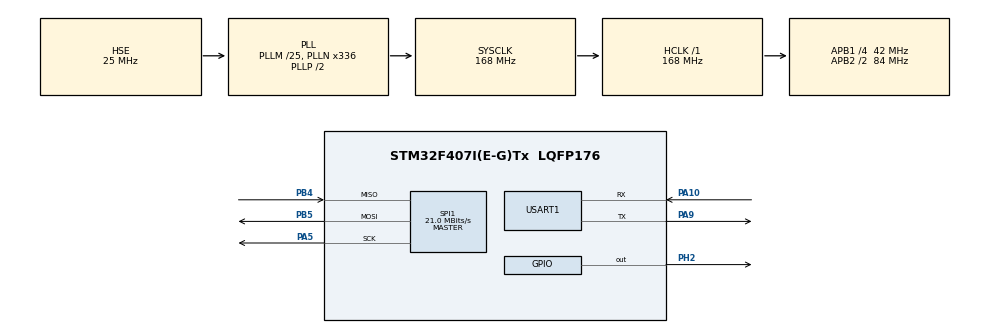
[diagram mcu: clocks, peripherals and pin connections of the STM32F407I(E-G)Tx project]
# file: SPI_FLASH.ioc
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Mcu.Family=STM32F4
Mcu.Name=STM32F407I(E-G)Tx
Mcu.Package=LQFP176
NVIC.PriorityGroup=NVIC_PRIORITYGROUP_4
PA10.Mode=Asynchronous
PA10.Signal=USART1_RX
PA5.Mode=Full_Duplex_Master
PA5.Signal=SPI1_SCK
PA9.Mode=Asynchronous
PA9.Signal=USART1_TX
PB4.Mode=Full_Duplex_Master
PB4.Signal=SPI1_MISO
PB5.Mode=Full_Duplex_Master
PB5.Signal=SPI1_MOSI
PH0-OSC_IN.Mode=HSE-External-Oscillator
PH0-OSC_IN.Signal=RCC_OSC_IN
PH1-OSC_OUT.Mode=HSE-External-Oscillator
PH1-OSC_OUT.Signal=RCC_OSC_OUT
PH2.Signal=GPIO_Output
ProjectManager.HeapSize=0x200
ProjectManager.StackSize=0x400
ProjectManager.TargetToolchain=MDK-ARM V5
RCC.48MHZClocksFreq_Value=84000000
RCC.AHBFreq_Value=168000000
RCC.APB1CLKDivider=RCC_HCLK_DIV4
RCC.APB1Freq_Value=42000000
RCC.APB1TimFreq_Value=84000000
RCC.APB2CLKDivider=RCC_HCLK_DIV2
RCC.APB2Freq_Value=84000000
RCC.APB2TimFreq_Value=168000000
RCC.CortexFreq_Value=168000000
RCC.HCLKFreq_Value=168000000
RCC.HSE_VALUE=25000000
RCC.HSI_VALUE=16000000
RCC.LSE_VALUE=32768
RCC.PLLM=25
RCC.PLLN=336
RCC.PLLSourceVirtual=RCC_PLLSOURCE_HSE
RCC.SYSCLKFreq_VALUE=168000000
RCC.SYSCLKSource=RCC_SYSCLKSOURCE_PLLCLK
RCC.VCOOutputFreq_Value=336000000
SPI1.BaudRatePrescaler=SPI_BAUDRATEPRESCALER_4
SPI1.CalculateBaudRate=21.0 MBits/s
SPI1.Direction=SPI_DIRECTION_2LINES
SPI1.Mode=SPI_MODE_MASTER
SPI1.VirtualType=VM_MASTER
USART1.VirtualMode=VM_ASYNC
board=SPI_FLASH

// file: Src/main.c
/**
  ******************************************************************************
  * @file           : main.c
  * @brief          : Main program body
  ******************************************************************************
  ** This notice applies to any and all portions of this file
  * that are not between comment pairs USER CODE BEGIN and
  * USER CODE END. Other portions of this file, whether
  * inserted by the user or by software development tools
  * are owned by their respective copyright owners.
  *
  * COPYRIGHT(c) 2025 STMicroelectronics
  *
  * Redistribution and use in source and binary forms, with or without modification,
  * are permitted provided that the following conditions are met:
  *   1. Redistributions of source code must retain the above copyright notice,
  *      this list of conditions and the following disclaimer.
  *   2. Redistributions in binary form must reproduce the above copyright notice,
  *      this list of conditions and the following disclaimer in the documentation
  *      and/or other materials provided with the distribution.
  *   3. Neither the name of STMicroelectronics nor the names of its contributors
  *      may be used to endorse or promote products derived from this software
  *      without specific prior written permission.
  *
  * THIS SOFTWARE IS PROVIDED BY THE COPYRIGHT HOLDERS AND CONTRIBUTORS "AS IS"
  * AND ANY EXPRESS OR IMPLIED WARRANTIES, INCLUDING, BUT NOT LIMITED TO, THE
  * IMPLIED WARRANTIES OF MERCHANTABILITY AND FITNESS FOR A PARTICULAR PURPOSE ARE
  * DISCLAIMED. IN NO EVENT SHALL THE COPYRIGHT HOLDER OR CONTRIBUTORS BE LIABLE
  * FOR ANY DIRECT, INDIRECT, INCIDENTAL, SPECIAL, EXEMPLARY, OR CONSEQUENTIAL
  * DAMAGES (INCLUDING, BUT NOT LIMITED TO, PROCUREMENT OF SUBSTITUTE GOODS OR
  * SERVICES; LOSS OF USE, DATA, OR PROFITS; OR BUSINESS INTERRUPTION) HOWEVER
  * CAUSED AND ON ANY THEORY OF LIABILITY, WHETHER IN CONTRACT, STRICT LIABILITY,
  * OR TORT (INCLUDING NEGLIGENCE OR OTHERWISE) ARISING IN ANY WAY OUT OF THE USE
  * OF THIS SOFTWARE, EVEN IF ADVISED OF THE POSSIBILITY OF SUCH DAMAGE.
  *
  ******************************************************************************
  */
#include "main.h"
#include "stm32f4xx_hal.h"
#include "spi.h"
#include "usart.h"
#include "gpio.h"

/* USER CODE BEGIN Includes */
#include "w25x16.h"
/* USER CODE END Includes */

/* USER CODE BEGIN PV */
/* Private variables ---------------------------------------------------------*/
//大于一个扇区4096byte
//读缓冲区
uint8_t RD_Buffer[5000] = {0};
//写缓冲区
uint8_t WR_Buffer[5000] = "SPI FLASH WRITE TEST";
/* USER CODE END PV */

void SystemClock_Config(void);

/* USER CODE BEGIN PFP */
/* Private function prototypes -----------------------------------------------*/

/* USER CODE END PFP */

/* USER CODE BEGIN 0 */
int fputc(int ch, FILE *p)
{
	while(!(USART1->SR & (1<<7)));

	USART1->DR = ch;

	return ch;
}
/* USER CODE END 0 */

int main(void)
{
  /* USER CODE BEGIN 1 */
	uint16_t FLASH_ID = 0;
	uint16_t i = 0;
	uint32_t count = 0;
  /* USER CODE END 1 */

  /* MCU Configuration----------------------------------------------------------*/

  /* Reset of all peripherals, Initializes the Flash interface and the Systick. */
  HAL_Init();

  /* Configure the system clock */
  SystemClock_Config();

  /* Initialize all configured peripherals */
  MX_GPIO_Init();
  MX_SPI1_Init();
  MX_USART1_UART_Init();
  /* USER CODE BEGIN 2 */

	printf("THIS IS SPI FLASH TEST\n");

	FLASH_ID = sFLASH_ReadID();

	printf("FLASH_ID= %x\n",FLASH_ID);

	//测试擦除
	sFLASH_EraseSector(4096*0);
	//从4096地址位开始 擦除一整个扇区
	//如果跨扇区写 要提前擦除好，否则无法写
	sFLASH_EraseSector(4096*1);

	//4 KB（4096 B）是 最小擦除粒度
	//读 所有位 全为1 则擦除成功 从地址0开始读  4096个字节byte 存入RD_Buffer数组
//	sFLASH_ReadBuffer(RD_Buffer,0,4096);

//	for(i = 0; i < 4096; i++)
//	{
//		printf("%x ",RD_Buffer[i]);
//
//		if(255 != RD_Buffer[i]) //每个字节8位全为1 一个元素的大小为255(0xff)
//		{
//			printf("Sector erase failed.\n");
//		}
//	}
//	printf("Sector erase successful.\n");

	/*测试写1*/
	//写之前，一定要擦除，只有擦除后的扇区才能写
	//将WR_Buffer里的内容，从地址0开始，写20个字节进FLASH里
//	sFLASH_WritePage(WR_Buffer,0,20);
	//将FLASH里从地址0开始，读20个字节的内容到RD_Buffer里。
//	sFLASH_ReadBuffer(RD_Buffer,0,20);
	//打印RD_Buffer里的内容
//	printf("READ DATA: %s",RD_Buffer);

	/*测试写1 无法突破页限制，扇区限制*/
	//测试写2 突破限制 跨页跨扇区写
	for(i = 0; i < 4096; i++)
	{
		WR_Buffer[i] = 0x55;
	}

	sFLASH_WriteBuffer(WR_Buffer,4090,1000);
	sFLASH_ReadBuffer(RD_Buffer,4090,1000);

	for(i = 0; i < 1000; i++)
	{
		printf("%x",RD_Buffer[i]);
		count++;
	}
	printf("%d",count);
  /* USER CODE END 2 */

  /* Infinite loop */
  while (1)
  {

  }

}

void SystemClock_Config(void)
{

  RCC_OscInitTypeDef RCC_OscInitStruct;
  RCC_ClkInitTypeDef RCC_ClkInitStruct;

    /**Configure the main internal regulator output voltage
    */
  __HAL_RCC_PWR_CLK_ENABLE();

  __HAL_PWR_VOLTAGESCALING_CONFIG(PWR_REGULATOR_VOLTAGE_SCALE1);

    /**Initializes the CPU, AHB and APB busses clocks
    */
  RCC_OscInitStruct.OscillatorType = RCC_OSCILLATORTYPE_HSE;
  RCC_OscInitStruct.HSEState = RCC_HSE_ON;
  RCC_OscInitStruct.PLL.PLLState = RCC_PLL_ON;
  RCC_OscInitStruct.PLL.PLLSource = RCC_PLLSOURCE_HSE;
  RCC_OscInitStruct.PLL.PLLM = 25;
  RCC_OscInitStruct.PLL.PLLN = 336;
  RCC_OscInitStruct.PLL.PLLP = RCC_PLLP_DIV2;
  RCC_OscInitStruct.PLL.PLLQ = 4;
  if (HAL_RCC_OscConfig(&RCC_OscInitStruct) != HAL_OK)
  {
    _Error_Handler(__FILE__, __LINE__);
  }

    /**Initializes the CPU, AHB and APB busses clocks
    */
  RCC_ClkInitStruct.ClockType = RCC_CLOCKTYPE_HCLK|RCC_CLOCKTYPE_SYSCLK
                              |RCC_CLOCKTYPE_PCLK1|RCC_CLOCKTYPE_PCLK2;
  RCC_ClkInitStruct.SYSCLKSource = RCC_SYSCLKSOURCE_PLLCLK;
  RCC_ClkInitStruct.AHBCLKDivider = RCC_SYSCLK_DIV1;
  RCC_ClkInitStruct.APB1CLKDivider = RCC_HCLK_DIV4;
  RCC_ClkInitStruct.APB2CLKDivider = RCC_HCLK_DIV2;

  if (HAL_RCC_ClockConfig(&RCC_ClkInitStruct, FLASH_LATENCY_5) != HAL_OK)
  {
    _Error_Handler(__FILE__, __LINE__);
  }

    /**Configure the Systick interrupt time
    */
  HAL_SYSTICK_Config(HAL_RCC_GetHCLKFreq()/1000);

    /**Configure the Systick
    */
  HAL_SYSTICK_CLKSourceConfig(SYSTICK_CLKSOURCE_HCLK);

  /* SysTick_IRQn interrupt configuration */
  HAL_NVIC_SetPriority(SysTick_IRQn, 0, 0);
}

void _Error_Handler(char *file, int line)
{
  while(1)
  {
  }
}

/************************ (C) COPYRIGHT STMicroelectronics *****END OF FILE****/
